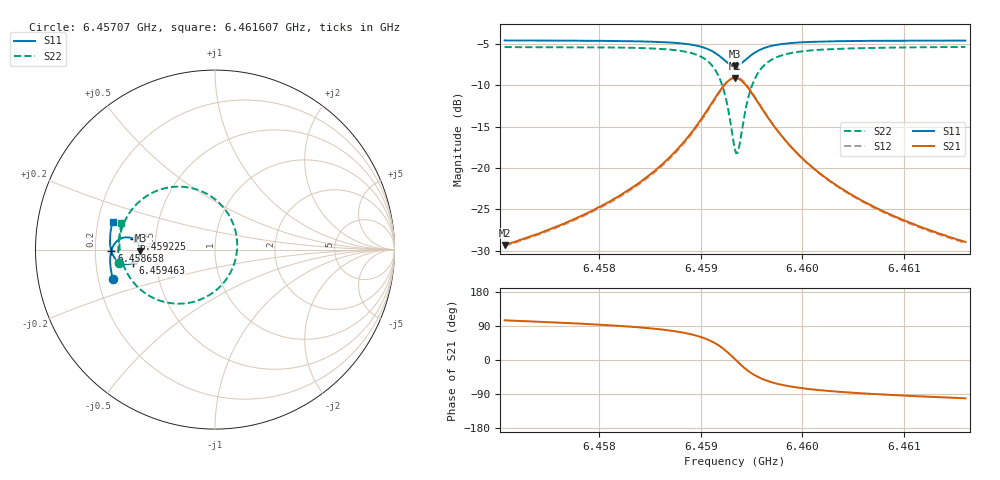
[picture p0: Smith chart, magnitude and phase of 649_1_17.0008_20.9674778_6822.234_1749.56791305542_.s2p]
#  HZ  S  RI  R  50.00
! Rohde & Schwarz Vector Network Analyzer
! Rohde-Schwarz,ZNB20-2Port,1311601062101988,3.16
! Created: UTC 3/20/2024, 11:21:09 PM
! freq[Hz]  re:S11  im:S11  re:S21  im:S21  re:S12  im:S12  re:S22  im:S22
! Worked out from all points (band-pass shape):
!   401 points, 6.45707 GHz to 6.461607 GHz, reference 50 ohm
!   highest |S21| = -9.09 dB at 6.459338 GHz (marker M1); lowest = -29.3 dB at 6.45707 GHz (marker M2)
!   |S21| within 3 dB of the highest: 6.459112 GHz to 6.459566 GHz (453.3 kHz wide, 0.00702 % of centre)
!   lowest |S11| = -7.6 dB at 6.459338 GHz (marker M3), VSWR 2.42, Z = 20.6 - j0.326 ohm
!   |S11| at or under -10 dB: nowhere
!   |S22| runs from -18.2 to -5.3 dB; largest |S21 - S12| = 0.014
!   S11 on the Smith chart (normalised r, x): 6.45707 GHz: 0.26, -0.13; 6.458658 GHz: 0.27, -0.00; 6.459225 GHz: 0.38, +0.05; 6.459463 GHz: 0.37, -0.07; 6.461607 GHz: 0.26, +0.12
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6.4570697e9  -0.5687 -0.1651  -0.00864 0.0331  -0.00677 0.033  -0.5346 -0.0764
6.4578297e9  -0.5818 -0.0981  -0.00519 0.0513  -0.00241 0.0506  -0.5386 0.0138
6.4582607e9  -0.5841 -0.0546  0.00163 0.0717  0.00473 0.0702  -0.5288 0.0833
6.4585896e9  -0.5799 -0.0148  0.0154 0.1001  0.0194 0.0972  -0.5027 0.1591
6.4586577e9  -0.5775 -0.00526  0.021 0.1085  0.0252 0.1051  -0.4922 0.1793
6.4588505e9  -0.5644 0.0251  0.0482 0.1397  0.0522 0.1345  -0.4412 0.2486
6.4589979e9  -0.5413 0.0512  0.0942 0.1702  0.0973 0.1633  -0.356 0.313
6.4591341e9  -0.4969 0.0684  0.1828 0.1864  0.1834 0.1788  -0.194 0.3507
6.4592248e9  -0.4519 0.0577  0.2736 0.1542  0.2738 0.1483  -0.0254 0.2986
6.4592929e9  -0.4224 0.025  0.3346 0.081  0.3367 0.0757  0.0914 0.1664
6.4593382e9  -0.4155 -0.00652  0.351 0.0118  0.3547 0.00488  0.1235 0.0367
6.4593722e9  -0.4196 -0.0306  0.3448 -0.0415  0.3489 -0.0506  0.1114 -0.0646
6.4594176e9  -0.4355 -0.057  0.3154 -0.1022  0.3178 -0.1144  0.0519 -0.1799
6.459463e9  -0.458 -0.0736  0.2723 -0.1438  0.2716 -0.1573  -0.0355 -0.2558
6.4595537e9  -0.5021 -0.0806  0.1859 -0.1747  0.1795 -0.1866  -0.2082 -0.3016
6.4596218e9  -0.5267 -0.0731  0.1365 -0.1724  0.1283 -0.1816  -0.3034 -0.2856
6.4597012e9  -0.5464 -0.0598  0.0966 -0.16  0.0877 -0.1662  -0.3788 -0.2499
6.45986e9  -0.5682 -0.0319  0.051 -0.1312  0.0433 -0.1341  -0.46 -0.1758
6.4600982e9  -0.5809 0.00364  0.0219 -0.0989  0.0158 -0.0993  -0.5079 -0.0919
6.4604498e9  -0.5852 0.0458  0.00552 -0.0709  0.00138 -0.0704  -0.5294 -0.00971
6.4608581e9  -0.5832 0.0869  -0.00181 -0.0526  -0.00471 -0.0518  -0.5328 0.0566
6.4616067e9  -0.5709 0.1534  -0.00685 -0.0351  -0.00858 -0.0342  -0.5212 0.146
